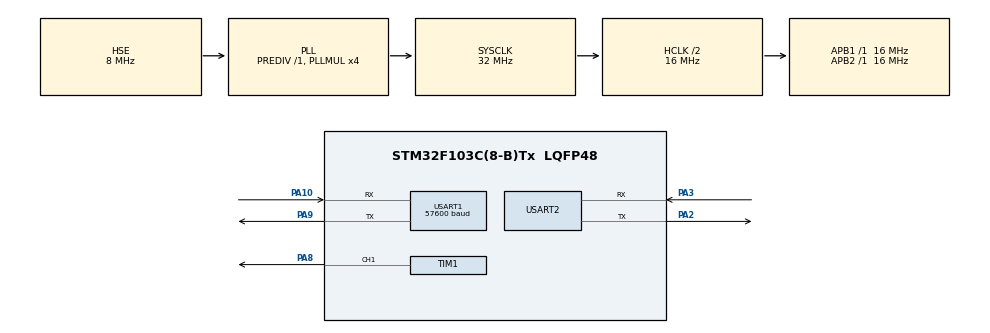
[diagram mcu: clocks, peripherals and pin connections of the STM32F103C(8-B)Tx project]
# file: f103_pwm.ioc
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Mcu.Family=STM32F1
RCC.PLLSourceVirtual=RCC_PLLSOURCE_HSE
PD1-OSC_OUT.Mode=HSE-External-Oscillator
PA10.Mode=Asynchronous
USART1.BaudRate=57600
PD0-OSC_IN.Signal=RCC_OSC_IN
TIM1.Pulse-PWM\ Generation1\ CH1=1
VP_SYS_VS_ND.Mode=No_Debug
RCC.SYSCLKSource=RCC_SYSCLKSOURCE_PLLCLK
ProjectManager.StackSize=0x400
PD1-OSC_OUT.Signal=RCC_OSC_OUT
PA3.Mode=Asynchronous
PA9.Mode=Asynchronous
TIM1.Prescaler=159
SH.S_TIM1_CH1.0=TIM1_CH1,PWM Generation1 CH1
ProjectManager.TargetToolchain=STM32CubeIDE
RCC.HCLKFreq_Value=16000000
RCC.APB2TimFreq_Value=16000000
PA9.Signal=USART1_TX
RCC.USBFreq_Value=32000000
RCC.AHBFreq_Value=16000000
PD0-OSC_IN.Mode=HSE-External-Oscillator
board=custom
RCC.PLLMUL=RCC_PLL_MUL4
RCC.APB2Freq_Value=16000000
VP_TIM2_VS_ClockSourceINT.Mode=Internal
TIM1.Channel-PWM\ Generation1\ CH1=TIM_CHANNEL_1
NVIC.TIM2_IRQn=true\:0\:0\:false\:false\:true\:true\:true
PA8.Signal=S_TIM1_CH1
RCC.AHBCLKDivider=RCC_SYSCLK_DIV2
TIM2.Period=999
Mcu.Name=STM32F103C(8-B)Tx
VP_TIM1_VS_ClockSourceINT.Mode=Internal
PA2.Signal=USART2_TX
RCC.SYSCLKFreq_VALUE=32000000
Mcu.Package=LQFP48
TIM2.Prescaler=15
USART2.VirtualMode=VM_ASYNC
USART1.VirtualMode=VM_ASYNC
PA10.Signal=USART1_RX
ProjectManager.HeapSize=0x200
NVIC.PriorityGroup=NVIC_PRIORITYGROUP_4
RCC.APB1TimFreq_Value=16000000
PA2.Mode=Asynchronous
TIM1.Period=999
RCC.APB1Freq_Value=16000000
PA3.Signal=USART2_RX

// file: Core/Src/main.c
/* USER CODE BEGIN Header */
/**
  ******************************************************************************
  * @file           : main.c
  * @brief          : Main program body
  ******************************************************************************
  * @attention
  *
  * <h2><center>&copy; Copyright (c) 2021 STMicroelectronics.
  * All rights reserved.</center></h2>
  *
  * This software component is licensed by ST under BSD 3-Clause license,
  * the "License"; You may not use this file except in compliance with the
  * License. You may obtain a copy of the License at:
  *                        opensource.org/licenses/BSD-3-Clause
  *
  ******************************************************************************
  */
/* USER CODE END Header */
#include "main.h"

/* USER CODE BEGIN Includes */
#include "stdio.h"
#include "string.h"
/* USER CODE END Includes */

/* USER CODE BEGIN PD */
#define msg_SIZE 60
#define PERIOD 1000 //период импульсов Ш�?М
/* USER CODE END PD */

TIM_HandleTypeDef htim1;
TIM_HandleTypeDef htim2;

UART_HandleTypeDef huart1;
UART_HandleTypeDef huart2;

/* USER CODE BEGIN PV */
unsigned int duty_ch1 = 0; // длительность импульсов Ш�?М канала 1 таймера1
uint8_t flag = 1;
/* USER CODE END PV */

void SystemClock_Config(void);
static void MX_GPIO_Init(void);
static void MX_USART1_UART_Init(void);
static void MX_TIM1_Init(void);
static void MX_TIM2_Init(void);
static void MX_USART2_UART_Init(void);

/* USER CODE BEGIN 0 */
static char UART_msg_TX[msg_SIZE]; // массив для формирования сообщений для вывода по UART

//прерывание 1 раз в 2 мс
void HAL_TIM_PeriodElapsedCallback(TIM_HandleTypeDef *htim)
{
        if(htim->Instance == TIM2) //check if the interrupt comes from TIM1
        {
        	if (flag)
        	{
        		duty_ch1 += PERIOD/1000; // прибавляем длительность импульса  PWM по 1
        		TIM1->CCR1 = duty_ch1;
        		if(duty_ch1 >= PERIOD)
        		{
        			flag = 0;
        			sprintf (UART_msg_TX,"flag=0\r\n");
        			HAL_UART_Transmit(&huart1, (unsigned char*)UART_msg_TX, strlen(UART_msg_TX), 0x1000);
        		}
        	}
        	else
        	{
        		duty_ch1 -= PERIOD/1000; // убавляем длительность импульса PWM по 1
        		TIM1->CCR1 = duty_ch1;
        		if(duty_ch1 <= 1)
        		{
        			flag = 1;
        			sprintf (UART_msg_TX,"flag=1\r\n");
        			HAL_UART_Transmit(&huart1, (unsigned char*)UART_msg_TX, strlen(UART_msg_TX), 0x1000);
        		}
        	}
        }

 //       sprintf (UART_msg_TX,"timer2\r\n");
//        HAL_UART_Transmit(&huart1, (unsigned char*)UART_msg_TX, strlen(UART_msg_TX), 0x1000);
 }
/* USER CODE END 0 */

int main(void)
{

  /* MCU Configuration--------------------------------------------------------*/

  /* Reset of all peripherals, Initializes the Flash interface and the Systick. */
  HAL_Init();

  /* Configure the system clock */
  SystemClock_Config();

  /* Initialize all configured peripherals */
  MX_GPIO_Init();
  MX_USART1_UART_Init();
  MX_TIM1_Init();
  MX_TIM2_Init();
  MX_USART2_UART_Init();
  /* USER CODE BEGIN 2 */
//  HAL_TIM_PWM_Start_IT(&htim1, TIM_CHANNEL_1);
  HAL_TIM_PWM_Start(&htim1, TIM_CHANNEL_1);
  HAL_TIM_Base_Start_IT(&htim2);
  sprintf (UART_msg_TX,"pwm_start\r\n");
  HAL_UART_Transmit(&huart1, (unsigned char*)UART_msg_TX, strlen(UART_msg_TX), 0x1000);
  /* USER CODE END 2 */

  /* Infinite loop */
  while (1)
  {

  }
}

void SystemClock_Config(void)
{
  RCC_OscInitTypeDef RCC_OscInitStruct = {0};
  RCC_ClkInitTypeDef RCC_ClkInitStruct = {0};

  /** Initializes the RCC Oscillators according to the specified parameters
  * in the RCC_OscInitTypeDef structure.
  */
  RCC_OscInitStruct.OscillatorType = RCC_OSCILLATORTYPE_HSE;
  RCC_OscInitStruct.HSEState = RCC_HSE_ON;
  RCC_OscInitStruct.HSEPredivValue = RCC_HSE_PREDIV_DIV1;
  RCC_OscInitStruct.HSIState = RCC_HSI_ON;
  RCC_OscInitStruct.PLL.PLLState = RCC_PLL_ON;
  RCC_OscInitStruct.PLL.PLLSource = RCC_PLLSOURCE_HSE;
  RCC_OscInitStruct.PLL.PLLMUL = RCC_PLL_MUL4;
  if (HAL_RCC_OscConfig(&RCC_OscInitStruct) != HAL_OK)
  {
    Error_Handler();
  }
  /** Initializes the CPU, AHB and APB buses clocks
  */
  RCC_ClkInitStruct.ClockType = RCC_CLOCKTYPE_HCLK|RCC_CLOCKTYPE_SYSCLK
                              |RCC_CLOCKTYPE_PCLK1|RCC_CLOCKTYPE_PCLK2;
  RCC_ClkInitStruct.SYSCLKSource = RCC_SYSCLKSOURCE_PLLCLK;
  RCC_ClkInitStruct.AHBCLKDivider = RCC_SYSCLK_DIV2;
  RCC_ClkInitStruct.APB1CLKDivider = RCC_HCLK_DIV1;
  RCC_ClkInitStruct.APB2CLKDivider = RCC_HCLK_DIV1;

  if (HAL_RCC_ClockConfig(&RCC_ClkInitStruct, FLASH_LATENCY_1) != HAL_OK)
  {
    Error_Handler();
  }
}

static void MX_TIM1_Init(void)
{

  TIM_ClockConfigTypeDef sClockSourceConfig = {0};
  TIM_MasterConfigTypeDef sMasterConfig = {0};
  TIM_OC_InitTypeDef sConfigOC = {0};
  TIM_BreakDeadTimeConfigTypeDef sBreakDeadTimeConfig = {0};

  htim1.Instance = TIM1;
  htim1.Init.Prescaler = 159;
  htim1.Init.CounterMode = TIM_COUNTERMODE_UP;
  htim1.Init.Period = 999;
  htim1.Init.ClockDivision = TIM_CLOCKDIVISION_DIV1;
  htim1.Init.RepetitionCounter = 0;
  htim1.Init.AutoReloadPreload = TIM_AUTORELOAD_PRELOAD_DISABLE;
  if (HAL_TIM_Base_Init(&htim1) != HAL_OK)
  {
    Error_Handler();
  }
  sClockSourceConfig.ClockSource = TIM_CLOCKSOURCE_INTERNAL;
  if (HAL_TIM_ConfigClockSource(&htim1, &sClockSourceConfig) != HAL_OK)
  {
    Error_Handler();
  }
  if (HAL_TIM_PWM_Init(&htim1) != HAL_OK)
  {
    Error_Handler();
  }
  sMasterConfig.MasterOutputTrigger = TIM_TRGO_RESET;
  sMasterConfig.MasterSlaveMode = TIM_MASTERSLAVEMODE_DISABLE;
  if (HAL_TIMEx_MasterConfigSynchronization(&htim1, &sMasterConfig) != HAL_OK)
  {
    Error_Handler();
  }
  sConfigOC.OCMode = TIM_OCMODE_PWM1;
  sConfigOC.Pulse = 1;
  sConfigOC.OCPolarity = TIM_OCPOLARITY_HIGH;
  sConfigOC.OCNPolarity = TIM_OCNPOLARITY_HIGH;
  sConfigOC.OCFastMode = TIM_OCFAST_DISABLE;
  sConfigOC.OCIdleState = TIM_OCIDLESTATE_RESET;
  sConfigOC.OCNIdleState = TIM_OCNIDLESTATE_RESET;
  if (HAL_TIM_PWM_ConfigChannel(&htim1, &sConfigOC, TIM_CHANNEL_1) != HAL_OK)
  {
    Error_Handler();
  }
  sBreakDeadTimeConfig.OffStateRunMode = TIM_OSSR_DISABLE;
  sBreakDeadTimeConfig.OffStateIDLEMode = TIM_OSSI_DISABLE;
  sBreakDeadTimeConfig.LockLevel = TIM_LOCKLEVEL_OFF;
  sBreakDeadTimeConfig.DeadTime = 0;
  sBreakDeadTimeConfig.BreakState = TIM_BREAK_DISABLE;
  sBreakDeadTimeConfig.BreakPolarity = TIM_BREAKPOLARITY_HIGH;
  sBreakDeadTimeConfig.AutomaticOutput = TIM_AUTOMATICOUTPUT_DISABLE;
  if (HAL_TIMEx_ConfigBreakDeadTime(&htim1, &sBreakDeadTimeConfig) != HAL_OK)
  {
    Error_Handler();
  }
  HAL_TIM_MspPostInit(&htim1);

}

static void MX_TIM2_Init(void)
{

  TIM_ClockConfigTypeDef sClockSourceConfig = {0};
  TIM_MasterConfigTypeDef sMasterConfig = {0};

  htim2.Instance = TIM2;
  htim2.Init.Prescaler = 15;
  htim2.Init.CounterMode = TIM_COUNTERMODE_UP;
  htim2.Init.Period = 999;
  htim2.Init.ClockDivision = TIM_CLOCKDIVISION_DIV1;
  htim2.Init.AutoReloadPreload = TIM_AUTORELOAD_PRELOAD_DISABLE;
  if (HAL_TIM_Base_Init(&htim2) != HAL_OK)
  {
    Error_Handler();
  }
  sClockSourceConfig.ClockSource = TIM_CLOCKSOURCE_INTERNAL;
  if (HAL_TIM_ConfigClockSource(&htim2, &sClockSourceConfig) != HAL_OK)
  {
    Error_Handler();
  }
  sMasterConfig.MasterOutputTrigger = TIM_TRGO_RESET;
  sMasterConfig.MasterSlaveMode = TIM_MASTERSLAVEMODE_DISABLE;
  if (HAL_TIMEx_MasterConfigSynchronization(&htim2, &sMasterConfig) != HAL_OK)
  {
    Error_Handler();
  }

}

static void MX_USART1_UART_Init(void)
{

  huart1.Instance = USART1;
  huart1.Init.BaudRate = 57600;
  huart1.Init.WordLength = UART_WORDLENGTH_8B;
  huart1.Init.StopBits = UART_STOPBITS_1;
  huart1.Init.Parity = UART_PARITY_NONE;
  huart1.Init.Mode = UART_MODE_TX_RX;
  huart1.Init.HwFlowCtl = UART_HWCONTROL_NONE;
  huart1.Init.OverSampling = UART_OVERSAMPLING_16;
  if (HAL_UART_Init(&huart1) != HAL_OK)
  {
    Error_Handler();
  }

}

static void MX_USART2_UART_Init(void)
{

  huart2.Instance = USART2;
  huart2.Init.BaudRate = 115200;
  huart2.Init.WordLength = UART_WORDLENGTH_8B;
  huart2.Init.StopBits = UART_STOPBITS_1;
  huart2.Init.Parity = UART_PARITY_NONE;
  huart2.Init.Mode = UART_MODE_TX_RX;
  huart2.Init.HwFlowCtl = UART_HWCONTROL_NONE;
  huart2.Init.OverSampling = UART_OVERSAMPLING_16;
  if (HAL_UART_Init(&huart2) != HAL_OK)
  {
    Error_Handler();
  }

}

static void MX_GPIO_Init(void)
{

  /* GPIO Ports Clock Enable */
  __HAL_RCC_GPIOD_CLK_ENABLE();
  __HAL_RCC_GPIOA_CLK_ENABLE();

}

void Error_Handler(void)
{
}

/************************ (C) COPYRIGHT STMicroelectronics *****END OF FILE****/
